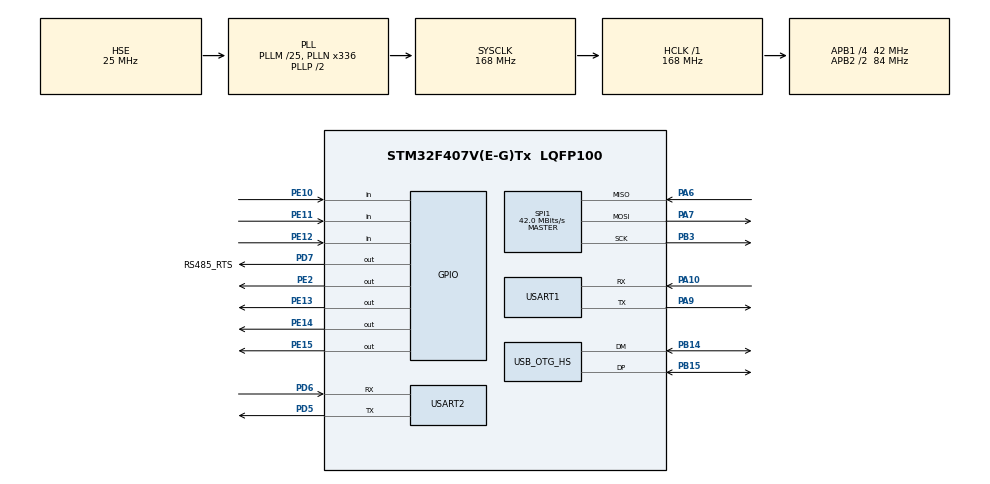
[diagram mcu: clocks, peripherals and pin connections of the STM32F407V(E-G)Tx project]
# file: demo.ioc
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Dma.Request0=USART2_RX
Dma.Request1=USART2_TX
Dma.Request2=USART1_RX
Dma.Request3=USART1_TX
Dma.USART1_RX.2.Direction=DMA_PERIPH_TO_MEMORY
Dma.USART1_RX.2.FIFOMode=DMA_FIFOMODE_DISABLE
Dma.USART1_RX.2.Instance=DMA2_Stream2
Dma.USART1_RX.2.MemDataAlignment=DMA_MDATAALIGN_BYTE
Dma.USART1_RX.2.MemInc=DMA_MINC_ENABLE
Dma.USART1_RX.2.Mode=DMA_CIRCULAR
Dma.USART1_RX.2.PeriphDataAlignment=DMA_PDATAALIGN_BYTE
Dma.USART1_RX.2.PeriphInc=DMA_PINC_DISABLE
Dma.USART1_RX.2.Priority=DMA_PRIORITY_LOW
Dma.USART1_TX.3.Direction=DMA_MEMORY_TO_PERIPH
Dma.USART1_TX.3.FIFOMode=DMA_FIFOMODE_DISABLE
Dma.USART1_TX.3.Instance=DMA2_Stream7
Dma.USART1_TX.3.MemDataAlignment=DMA_MDATAALIGN_BYTE
Dma.USART1_TX.3.MemInc=DMA_MINC_ENABLE
Dma.USART1_TX.3.Mode=DMA_NORMAL
Dma.USART1_TX.3.PeriphDataAlignment=DMA_PDATAALIGN_BYTE
Dma.USART1_TX.3.PeriphInc=DMA_PINC_DISABLE
Dma.USART1_TX.3.Priority=DMA_PRIORITY_LOW
Dma.USART2_RX.0.Direction=DMA_PERIPH_TO_MEMORY
Dma.USART2_RX.0.FIFOMode=DMA_FIFOMODE_DISABLE
Dma.USART2_RX.0.Instance=DMA1_Stream5
Dma.USART2_RX.0.MemDataAlignment=DMA_MDATAALIGN_BYTE
Dma.USART2_RX.0.MemInc=DMA_MINC_ENABLE
Dma.USART2_RX.0.Mode=DMA_CIRCULAR
Dma.USART2_RX.0.PeriphDataAlignment=DMA_PDATAALIGN_BYTE
Dma.USART2_RX.0.PeriphInc=DMA_PINC_DISABLE
Dma.USART2_RX.0.Priority=DMA_PRIORITY_LOW
Dma.USART2_TX.1.Direction=DMA_MEMORY_TO_PERIPH
Dma.USART2_TX.1.FIFOMode=DMA_FIFOMODE_DISABLE
Dma.USART2_TX.1.Instance=DMA1_Stream6
Dma.USART2_TX.1.MemDataAlignment=DMA_MDATAALIGN_BYTE
Dma.USART2_TX.1.MemInc=DMA_MINC_ENABLE
Dma.USART2_TX.1.Mode=DMA_NORMAL
Dma.USART2_TX.1.PeriphDataAlignment=DMA_PDATAALIGN_BYTE
Dma.USART2_TX.1.PeriphInc=DMA_PINC_DISABLE
Dma.USART2_TX.1.Priority=DMA_PRIORITY_LOW
FATFS._MAX_SS=4096
Mcu.Family=STM32F4
Mcu.Name=STM32F407V(E-G)Tx
Mcu.Package=LQFP100
NVIC.DMA1_Stream5_IRQn=true\:0\:0\:false\:false\:true\:false\:true\:true
NVIC.DMA1_Stream6_IRQn=true\:0\:0\:false\:false\:true\:false\:true\:true
NVIC.DMA2_Stream2_IRQn=true\:0\:0\:false\:false\:true\:false\:true\:true
NVIC.DMA2_Stream7_IRQn=true\:0\:0\:false\:false\:true\:false\:true\:true
NVIC.OTG_HS_IRQn=true\:0\:0\:false\:false\:true\:false\:true\:true
NVIC.PriorityGroup=NVIC_PRIORITYGROUP_4
NVIC.TIM1_TRG_COM_TIM11_IRQn=true\:0\:0\:false\:false\:true\:true\:true\:true
NVIC.USART1_IRQn=true\:0\:0\:false\:false\:true\:true\:true\:true
NVIC.USART2_IRQn=true\:0\:0\:false\:false\:true\:true\:true\:true
PA10.Mode=Asynchronous
PA10.Signal=USART1_RX
PA13.Mode=Serial_Wire
PA13.Signal=SYS_JTMS-SWDIO
PA14.Mode=Serial_Wire
PA14.Signal=SYS_JTCK-SWCLK
PA6.Mode=Full_Duplex_Master
PA6.Signal=SPI1_MISO
PA7.Mode=Full_Duplex_Master
PA7.Signal=SPI1_MOSI
PA9.Mode=Asynchronous
PA9.Signal=USART1_TX
PB14.Mode=Device_Only_FS
PB14.Signal=USB_OTG_HS_DM
PB15.Mode=Device_Only_FS
PB15.Signal=USB_OTG_HS_DP
PB3.Mode=Full_Duplex_Master
PB3.Signal=SPI1_SCK
PB8.GPIO_Pu=GPIO_PULLUP
PB8.Signal=I2C1_SCL
PB9.GPIO_Pu=GPIO_PULLUP
PB9.Signal=I2C1_SDA
PD5.Mode=Asynchronous
PD5.Signal=USART2_TX
PD6.Mode=Asynchronous
PD6.Signal=USART2_RX
PD7.GPIO_Label=RS485_RTS
PD7.GPIO_Speed=GPIO_SPEED_FREQ_HIGH
PD7.PinState=GPIO_PIN_SET
PD7.Signal=GPIO_Output
PE10.Signal=GPIO_Input
PE11.Signal=GPIO_Input
PE12.Signal=GPIO_Input
PE13.Signal=GPIO_Output
PE14.Signal=GPIO_Output
PE15.Signal=GPIO_Output
PE2.Signal=GPIO_Output
PH0-OSC_IN.Mode=HSE-External-Oscillator
PH0-OSC_IN.Signal=RCC_OSC_IN
PH1-OSC_OUT.Mode=HSE-External-Oscillator
PH1-OSC_OUT.Signal=RCC_OSC_OUT
ProjectManager.HeapSize=0x2000
ProjectManager.StackSize=0x2000
ProjectManager.TargetToolchain=MDK-ARM V5
RCC.48MHZClocksFreq_Value=48000000
RCC.AHBFreq_Value=168000000
RCC.APB1CLKDivider=RCC_HCLK_DIV4
RCC.APB1Freq_Value=42000000
RCC.APB1TimFreq_Value=84000000
RCC.APB2CLKDivider=RCC_HCLK_DIV2
RCC.APB2Freq_Value=84000000
RCC.APB2TimFreq_Value=168000000
RCC.CortexFreq_Value=168000000
RCC.HCLKFreq_Value=168000000
RCC.HSE_VALUE=25000000
RCC.HSI_VALUE=16000000
RCC.LSE_VALUE=32768
RCC.PLLM=25
RCC.PLLN=336
RCC.PLLQ=7
RCC.SYSCLKFreq_VALUE=168000000
RCC.SYSCLKSource=RCC_SYSCLKSOURCE_PLLCLK
RCC.VCOOutputFreq_Value=336000000
SPI1.CalculateBaudRate=42.0 MBits/s
SPI1.Direction=SPI_DIRECTION_2LINES
SPI1.Mode=SPI_MODE_MASTER
SPI1.VirtualType=VM_MASTER
TIM11.AutoReloadPreload=TIM_AUTORELOAD_PRELOAD_ENABLE
TIM11.Period=14000-1
TIM11.Prescaler=12-1
USART1.VirtualMode=VM_ASYNC
USART2.VirtualMode=VM_ASYNC
USB_DEVICE.CLASS_NAME_HS=MSC
USB_DEVICE.MSC_MEDIA_PACKET-MSC_HS=4096
USB_DEVICE.USBD_DEBUG_LEVEL-MSC_HS=3
USB_DEVICE.VirtualMode-MSC_HS=Msc
USB_DEVICE.VirtualModeHS=Msc_HS
USB_OTG_HS.VirtualMode-Device_Only_FS=Device_Only_FS
VP_FATFS_VS_Generic.Mode=User_defined
VP_TIM11_VS_ClockSourceINT.Mode=Enable_Timer
VP_USB_DEVICE_VS_USB_DEVICE_MSC_HS.Mode=MSC_HS
board=custom

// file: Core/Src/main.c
/* USER CODE BEGIN Header */
/**
 ******************************************************************************
 * @file           : main.c
 * @brief          : Main program body
 ******************************************************************************
 * @attention
 *
 * Copyright (c) 2023 STMicroelectronics.
 * All rights reserved.
 *
 * This software is licensed under terms that can be found in the LICENSE file
 * in the root directory of this software component.
 * If no LICENSE file comes with this software, it is provided AS-IS.
 *
 ******************************************************************************
 */
/* USER CODE END Header */
#include "main.h"
#include "dma.h"
#include "fatfs.h"
#include "spi.h"
#include "tim.h"
#include "usart.h"
#include "usb_device.h"
#include "gpio.h"

/* USER CODE BEGIN Includes */
#include "stm32f4xx_hal_uart.h"
#include "gdefs.h"
/* USER CODE END Includes */

/* USER CODE BEGIN PTD */
#define I2C_IF 1
/* USER CODE END PTD */

void SystemClock_Config(void);
/* USER CODE BEGIN PFP */
void HAL_TIM_PeriodElapsedCallback(TIM_HandleTypeDef* htim)
{}
/* USER CODE END PFP */

/* USER CODE BEGIN 0 */
#include "gdefs.h"
#include "hwif.h"

#define MX_TIM11_Init() DelayInit()

/* USER CODE END 0 */

int main(void)
{

  /* USER CODE BEGIN 1 */
    cm_backtrace_init("demo", "stm32", "V0.01");
  /* USER CODE END 1 */

  /* MCU Configuration--------------------------------------------------------*/

  /* Reset of all peripherals, Initializes the Flash interface and the Systick. */
  HAL_Init();

  /* Configure the system clock */
  SystemClock_Config();

  /* USER CODE BEGIN SysInit */
    __HAL_RCC_GPIOA_CLK_ENABLE();
    __HAL_RCC_GPIOB_CLK_ENABLE();
    __HAL_RCC_GPIOC_CLK_ENABLE();
    __HAL_RCC_GPIOD_CLK_ENABLE();
    __HAL_RCC_GPIOE_CLK_ENABLE();
  /* USER CODE END SysInit */

  /* Initialize all configured peripherals */
  MX_GPIO_Init();
  MX_DMA_Init();
  MX_TIM11_Init();
  MX_USART1_UART_Init();
  MX_USART2_UART_Init();
  MX_SPI1_Init();
  MX_FATFS_Init();
  MX_USB_DEVICE_Init();

  /* Infinite loop */
    while (1)
    {

    }
}

void SystemClock_Config(void)
{
  RCC_OscInitTypeDef RCC_OscInitStruct = {0};
  RCC_ClkInitTypeDef RCC_ClkInitStruct = {0};

  /** Configure the main internal regulator output voltage
  */
  __HAL_RCC_PWR_CLK_ENABLE();
  __HAL_PWR_VOLTAGESCALING_CONFIG(PWR_REGULATOR_VOLTAGE_SCALE1);

  /** Initializes the RCC Oscillators according to the specified parameters
  * in the RCC_OscInitTypeDef structure.
  */
  RCC_OscInitStruct.OscillatorType = RCC_OSCILLATORTYPE_HSE;
  RCC_OscInitStruct.HSEState = RCC_HSE_ON;
  RCC_OscInitStruct.PLL.PLLState = RCC_PLL_ON;
  RCC_OscInitStruct.PLL.PLLSource = RCC_PLLSOURCE_HSE;
  RCC_OscInitStruct.PLL.PLLM = 25;
  RCC_OscInitStruct.PLL.PLLN = 336;
  RCC_OscInitStruct.PLL.PLLP = RCC_PLLP_DIV2;
  RCC_OscInitStruct.PLL.PLLQ = 7;
  if (HAL_RCC_OscConfig(&RCC_OscInitStruct) != HAL_OK)
  {
    Error_Handler();
  }

  /** Initializes the CPU, AHB and APB buses clocks
  */
  RCC_ClkInitStruct.ClockType = RCC_CLOCKTYPE_HCLK|RCC_CLOCKTYPE_SYSCLK
                              |RCC_CLOCKTYPE_PCLK1|RCC_CLOCKTYPE_PCLK2;
  RCC_ClkInitStruct.SYSCLKSource = RCC_SYSCLKSOURCE_PLLCLK;
  RCC_ClkInitStruct.AHBCLKDivider = RCC_SYSCLK_DIV1;
  RCC_ClkInitStruct.APB1CLKDivider = RCC_HCLK_DIV4;
  RCC_ClkInitStruct.APB2CLKDivider = RCC_HCLK_DIV2;

  if (HAL_RCC_ClockConfig(&RCC_ClkInitStruct, FLASH_LATENCY_5) != HAL_OK)
  {
    Error_Handler();
  }
}

void Error_Handler(void)
{
    __disable_irq();
    while (1)
    {
    }
}

#ifdef  USE_FULL_ASSERT
/**
  * @brief  Reports the name of the source file and the source line number
  *         where the assert_param error has occurred.
  * @param  file: pointer to the source file name
  * @param  line: assert_param error line source number
  * @retval None
  */
void assert_failed(uint8_t *file, uint32_t line)
{
  /* USER CODE BEGIN 6 */
    /* User can add his own implementation to report the file name and line number,
       ex: PRINTF("Wrong parameters value: file %s on line %d\r\n", file, line) */
  /* USER CODE END 6 */
}
#endif /* USE_FULL_ASSERT */
